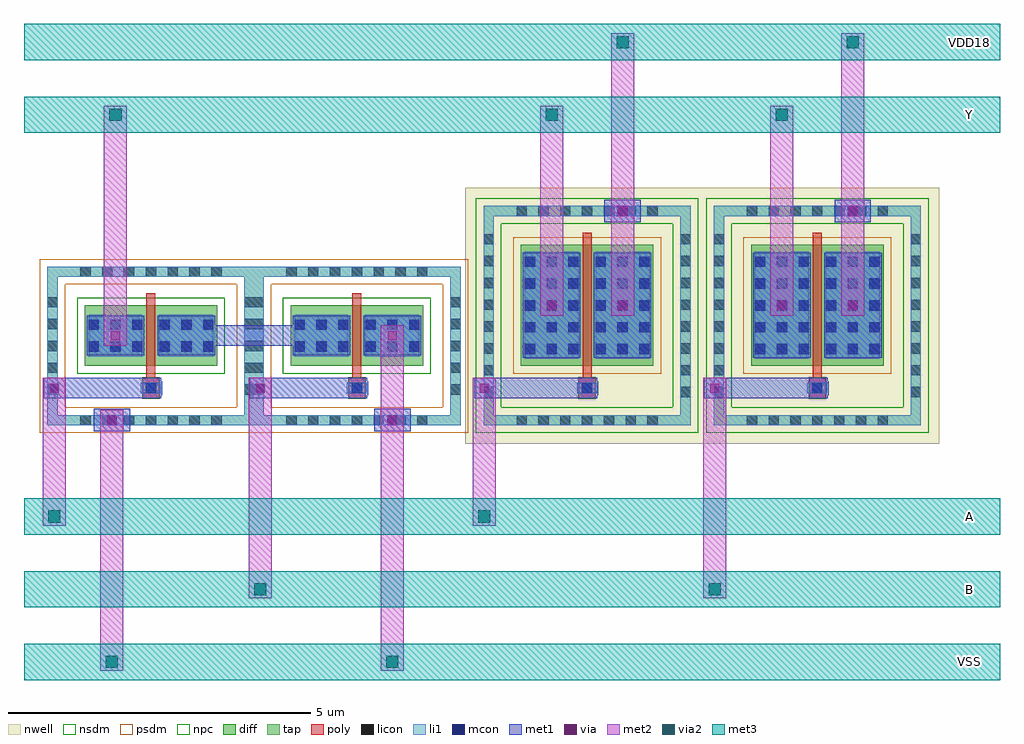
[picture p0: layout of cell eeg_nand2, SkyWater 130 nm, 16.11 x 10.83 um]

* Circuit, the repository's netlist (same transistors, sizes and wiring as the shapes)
* Extracted by KLayout with SKY130 LVS runset on : 05/09/2026 13:17

.SUBCKT eeg_nand2 A B VDD18 VSS Y
M$1 Y B VDD18 VDD18 sky130_fd_pr__pfet_01v8 L=0.15 W=2 AS=2.04 AD=2.04 PS=6.04
+ PD=6.04
M$2 Y A VDD18 VDD18 sky130_fd_pr__pfet_01v8 L=0.15 W=2 AS=2.04 AD=2.04 PS=6.04
+ PD=6.04
M$3 \$9 B VSS VSS sky130_fd_pr__nfet_01v8 L=0.15 W=1 AS=1.02 AD=1.02 PS=4.04
+ PD=4.04
M$4 Y A \$9 VSS sky130_fd_pr__nfet_01v8 L=0.15 W=1 AS=1.02 AD=1.02 PS=4.04
+ PD=4.04
.ENDS eeg_nand2

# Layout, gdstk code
import gdstk
lib = gdstk.Library(unit=1e-6, precision=1e-09)
def R(c, l, rs):  # rectangles x0, y0, x1, y1
    for r in rs: c.add(gdstk.rectangle(r[:2], r[2:], *l))
def A(c, l, x, y, w, h, nx, ny, dx, dy):  # array of equal rectangles
    R(c, l, [(x+i*dx, y+j*dy, x+i*dx+w, y+j*dy+h) for i in range(nx) for j in range(ny)])
def P(c, l, *ps):  # polygons
    for p in ps: c.add(gdstk.Polygon(p, *l))
nwell = (64, 20)
diff = (65, 20)
tap = (65, 44)
poly = (66, 20)
licon = (66, 44)
li1 = (67, 20)
mcon = (67, 44)
met1 = (68, 20)
via = (68, 44)
met2 = (69, 20)
via2 = (69, 44)
met3 = (70, 20)
nsdm = (93, 44)
psdm = (94, 20)
npc = (95, 20)

nd_n1 = lib.new_cell('nd_n1')
R(nd_n1, diff, [(0,0,2.19,1)])
P(nd_n1, tap, [(-0.615,-0.98),(-0.615,1.47),(-0.445,1.47),(-0.445,-0.81),(2.635,-0.81),(2.635,1.47),(-0.615,1.47),(-0.615,1.64),(2.805,1.64),(2.805,-0.98)])
R(nd_n1, poly, [(0.96,-0.53,1.23,-0.2), (1.02,-0.2,1.17,1.2)])
A(nd_n1, licon, -0.07, -0.98, 0.17, 0.17, 7, 2, 0.36, 2.45)
A(nd_n1, licon, -0.615, -0.475, 0.17, 0.17, 1, 5, 0, 0.36)
A(nd_n1, licon, 2.635, -0.475, 0.17, 0.17, 1, 5, 0, 0.36)
A(nd_n1, licon, 0.065, 0.235, 0.17, 0.17, 3, 2, 0.36, 0.36)
A(nd_n1, licon, 1.235, 0.235, 0.17, 0.17, 3, 2, 0.36, 0.36)
R(nd_n1, licon, [(1.01,-0.45,1.18,-0.28)])
R(nd_n1, li1, [(0.93,-0.45,1.26,-0.28), (0.065,0.155,0.955,0.845), (1.235,0.155,2.125,0.845)])
P(nd_n1, li1, [(-0.615,-0.98),(-0.615,1.47),(-0.445,1.47),(-0.445,-0.81),(2.635,-0.81),(2.635,1.47),(-0.615,1.47),(-0.615,1.64),(2.805,1.64),(2.805,-0.98)])
A(nd_n1, mcon, 0.065, 0.235, 0.17, 0.17, 3, 2, 0.36, 0.36)
A(nd_n1, mcon, 1.235, 0.235, 0.17, 0.17, 3, 2, 0.36, 0.36)
R(nd_n1, mcon, [(1.01,-0.45,1.18,-0.28)])
R(nd_n1, met1, [(0.91,-0.48,1.28,-0.25), (0.035,0.175,0.985,0.825), (1.205,0.175,2.155,0.825)])
R(nd_n1, nsdm, [(-0.125,-0.125,2.315,1.125)])
P(nd_n1, psdm, [(-0.74,-1.105),(-0.74,1.345),(-0.32,1.345),(-0.32,-0.685),(2.51,-0.685),(2.51,1.345),(-0.74,1.345),(-0.74,1.765),(2.93,1.765),(2.93,-1.105)])
R(nd_n1, npc, [(0.95,-0.54,1.24,-0.19)])

nd_n2 = lib.new_cell('nd_n2')
R(nd_n2, diff, [(0,0,2.19,1)])
P(nd_n2, tap, [(-0.615,-0.98),(-0.615,1.47),(-0.445,1.47),(-0.445,-0.81),(2.635,-0.81),(2.635,1.47),(-0.615,1.47),(-0.615,1.64),(2.805,1.64),(2.805,-0.98)])
R(nd_n2, poly, [(0.96,-0.53,1.23,-0.2), (1.02,-0.2,1.17,1.2)])
A(nd_n2, licon, -0.07, -0.98, 0.17, 0.17, 7, 2, 0.36, 2.45)
A(nd_n2, licon, -0.615, -0.475, 0.17, 0.17, 1, 5, 0, 0.36)
A(nd_n2, licon, 2.635, -0.475, 0.17, 0.17, 1, 5, 0, 0.36)
A(nd_n2, licon, 0.065, 0.235, 0.17, 0.17, 3, 2, 0.36, 0.36)
A(nd_n2, licon, 1.235, 0.235, 0.17, 0.17, 3, 2, 0.36, 0.36)
R(nd_n2, licon, [(1.01,-0.45,1.18,-0.28)])
R(nd_n2, li1, [(0.93,-0.45,1.26,-0.28), (0.065,0.155,0.955,0.845), (1.235,0.155,2.125,0.845)])
P(nd_n2, li1, [(-0.615,-0.98),(-0.615,1.47),(-0.445,1.47),(-0.445,-0.81),(2.635,-0.81),(2.635,1.47),(-0.615,1.47),(-0.615,1.64),(2.805,1.64),(2.805,-0.98)])
A(nd_n2, mcon, 0.065, 0.235, 0.17, 0.17, 3, 2, 0.36, 0.36)
A(nd_n2, mcon, 1.235, 0.235, 0.17, 0.17, 3, 2, 0.36, 0.36)
R(nd_n2, mcon, [(1.01,-0.45,1.18,-0.28)])
R(nd_n2, met1, [(0.91,-0.48,1.28,-0.25), (0.035,0.175,0.985,0.825), (1.205,0.175,2.155,0.825)])
R(nd_n2, nsdm, [(-0.125,-0.125,2.315,1.125)])
P(nd_n2, psdm, [(-0.74,-1.105),(-0.74,1.345),(-0.32,1.345),(-0.32,-0.685),(2.51,-0.685),(2.51,1.345),(-0.74,1.345),(-0.74,1.765),(2.93,1.765),(2.93,-1.105)])
R(nd_n2, npc, [(0.95,-0.54,1.24,-0.19)])

nd_p1 = lib.new_cell('nd_p1')
R(nd_p1, nwell, [(-0.92,-1.285,3.11,2.945)])
R(nd_p1, diff, [(0,0,2.19,2)])
P(nd_p1, tap, [(-0.615,-0.98),(-0.615,2.47),(-0.445,2.47),(-0.445,-0.81),(2.635,-0.81),(2.635,2.47),(-0.615,2.47),(-0.615,2.64),(2.805,2.64),(2.805,-0.98)])
R(nd_p1, poly, [(0.96,-0.53,1.23,-0.2), (1.02,-0.2,1.17,2.2)])
A(nd_p1, licon, -0.07, -0.98, 0.17, 0.17, 7, 2, 0.36, 3.45)
A(nd_p1, licon, -0.615, -0.515, 0.17, 0.17, 1, 8, 0, 0.36)
A(nd_p1, licon, 2.635, -0.515, 0.17, 0.17, 1, 8, 0, 0.36)
A(nd_p1, licon, 0.065, 0.195, 0.17, 0.17, 3, 5, 0.36, 0.36)
A(nd_p1, licon, 1.235, 0.195, 0.17, 0.17, 3, 5, 0.36, 0.36)
R(nd_p1, licon, [(1.01,-0.45,1.18,-0.28)])
R(nd_p1, li1, [(0.93,-0.45,1.26,-0.28), (0.065,0.115,0.955,1.885), (1.235,0.115,2.125,1.885)])
P(nd_p1, li1, [(-0.615,-0.98),(-0.615,2.47),(-0.445,2.47),(-0.445,-0.81),(2.635,-0.81),(2.635,2.47),(-0.615,2.47),(-0.615,2.64),(2.805,2.64),(2.805,-0.98)])
A(nd_p1, mcon, 0.065, 0.195, 0.17, 0.17, 3, 5, 0.36, 0.36)
A(nd_p1, mcon, 1.235, 0.195, 0.17, 0.17, 3, 5, 0.36, 0.36)
R(nd_p1, mcon, [(1.01,-0.45,1.18,-0.28)])
R(nd_p1, met1, [(0.91,-0.48,1.28,-0.25), (0.035,0.135,0.985,1.865), (1.205,0.135,2.155,1.865)])
P(nd_p1, nsdm, [(-0.74,-1.105),(-0.74,2.345),(-0.32,2.345),(-0.32,-0.685),(2.51,-0.685),(2.51,2.345),(-0.74,2.345),(-0.74,2.765),(2.93,2.765),(2.93,-1.105)])
R(nd_p1, psdm, [(-0.125,-0.125,2.315,2.125)])
R(nd_p1, npc, [(0.95,-0.54,1.24,-0.19)])

nd_p2 = lib.new_cell('nd_p2')
R(nd_p2, nwell, [(-0.92,-1.285,3.11,2.945)])
R(nd_p2, diff, [(0,0,2.19,2)])
P(nd_p2, tap, [(-0.615,-0.98),(-0.615,2.47),(-0.445,2.47),(-0.445,-0.81),(2.635,-0.81),(2.635,2.47),(-0.615,2.47),(-0.615,2.64),(2.805,2.64),(2.805,-0.98)])
R(nd_p2, poly, [(0.96,-0.53,1.23,-0.2), (1.02,-0.2,1.17,2.2)])
A(nd_p2, licon, -0.07, -0.98, 0.17, 0.17, 7, 2, 0.36, 3.45)
A(nd_p2, licon, -0.615, -0.515, 0.17, 0.17, 1, 8, 0, 0.36)
A(nd_p2, licon, 2.635, -0.515, 0.17, 0.17, 1, 8, 0, 0.36)
A(nd_p2, licon, 0.065, 0.195, 0.17, 0.17, 3, 5, 0.36, 0.36)
A(nd_p2, licon, 1.235, 0.195, 0.17, 0.17, 3, 5, 0.36, 0.36)
R(nd_p2, licon, [(1.01,-0.45,1.18,-0.28)])
R(nd_p2, li1, [(0.93,-0.45,1.26,-0.28), (0.065,0.115,0.955,1.885), (1.235,0.115,2.125,1.885)])
P(nd_p2, li1, [(-0.615,-0.98),(-0.615,2.47),(-0.445,2.47),(-0.445,-0.81),(2.635,-0.81),(2.635,2.47),(-0.615,2.47),(-0.615,2.64),(2.805,2.64),(2.805,-0.98)])
A(nd_p2, mcon, 0.065, 0.195, 0.17, 0.17, 3, 5, 0.36, 0.36)
A(nd_p2, mcon, 1.235, 0.195, 0.17, 0.17, 3, 5, 0.36, 0.36)
R(nd_p2, mcon, [(1.01,-0.45,1.18,-0.28)])
R(nd_p2, met1, [(0.91,-0.48,1.28,-0.25), (0.035,0.135,0.985,1.865), (1.205,0.135,2.155,1.865)])
P(nd_p2, nsdm, [(-0.74,-1.105),(-0.74,2.345),(-0.32,2.345),(-0.32,-0.685),(2.51,-0.685),(2.51,2.345),(-0.74,2.345),(-0.74,2.765),(2.93,2.765),(2.93,-1.105)])
R(nd_p2, psdm, [(-0.125,-0.125,2.315,2.125)])
R(nd_p2, npc, [(0.95,-0.54,1.24,-0.19)])

eeg_nand2 = lib.new_cell('eeg_nand2')
R(eeg_nand2, mcon, [(0.365,-0.98,0.535,-0.81), (4.995,-0.98,5.165,-0.81), (8.795,2.47,8.965,2.64), (12.595,2.47,12.765,2.64)])
R(eeg_nand2, met1, [(0.15,-1.08,0.75,-0.71), (4.78,-1.08,5.38,-0.71), (0.28,-1.065,0.62,-0.725), (4.91,-1.065,5.25,-0.725), (-0.67,-0.535,1.265,-0.195), (2.73,-0.535,4.665,-0.195), (6.43,-0.535,8.465,-0.195), (10.23,-0.535,12.265,-0.195), (0.34,0.33,0.68,0.67), (1.51,0.33,4.08,0.67), (4.91,0.33,5.25,0.67), (7.54,0.83,7.88,1.17), (8.71,0.83,9.05,1.17), (11.34,0.83,11.68,1.17), (12.51,0.83,12.85,1.17), (8.58,2.37,9.18,2.74), (12.38,2.37,12.98,2.74), (8.71,2.385,9.05,2.725), (12.51,2.385,12.85,2.725)])
R(eeg_nand2, via, [(0.375,-0.97,0.525,-0.82), (5.005,-0.97,5.155,-0.82), (-0.575,-0.44,-0.425,-0.29), (2.825,-0.44,2.975,-0.29), (6.525,-0.44,6.675,-0.29), (10.325,-0.44,10.475,-0.29), (0.435,0.425,0.585,0.575), (5.005,0.425,5.155,0.575), (7.635,0.925,7.785,1.075), (8.805,0.925,8.955,1.075), (11.435,0.925,11.585,1.075), (12.605,0.925,12.755,1.075), (8.805,2.48,8.955,2.63), (12.605,2.48,12.755,2.63)])
R(eeg_nand2, met2, [(0.26,-5.035,0.64,-0.725), (4.89,-5.035,5.27,0.67), (4.89,-5.035,5.27,-0.725), (2.71,-3.835,3.09,-0.195), (10.21,-3.835,10.59,-0.195), (-0.69,-2.635,-0.31,-0.195), (6.41,-2.635,6.79,-0.195), (0.32,0.33,0.7,4.295), (7.52,0.83,7.9,4.295), (8.69,0.83,9.07,5.495), (11.32,0.83,11.7,4.295), (12.49,0.83,12.87,5.495), (8.69,2.385,9.07,5.495), (12.49,2.385,12.87,5.495)])
R(eeg_nand2, via2, [(0.35,-4.985,0.55,-4.785), (4.98,-4.985,5.18,-4.785), (4.98,-4.985,5.18,-4.785), (2.8,-3.785,3,-3.585), (10.3,-3.785,10.5,-3.585), (-0.6,-2.585,-0.4,-2.385), (6.5,-2.585,6.7,-2.385), (0.41,4.045,0.61,4.245), (7.61,4.045,7.81,4.245), (11.41,4.045,11.61,4.245), (8.78,5.245,8.98,5.445), (8.78,5.245,8.98,5.445), (12.58,5.245,12.78,5.445), (12.58,5.245,12.78,5.445)])
A(eeg_nand2, met3, -1, -5.185, 16.11, 0.6, 1, 3, 0, 1.2)
R(eeg_nand2, met3, [(-1,3.845,15.11,4.445), (-1,5.045,15.11,5.645)])
eeg_nand2.add(gdstk.Reference(nd_n1, (0,0)))
eeg_nand2.add(gdstk.Reference(nd_n2, (3.4,0)))
eeg_nand2.add(gdstk.Reference(nd_p1, (7.2,0)))
eeg_nand2.add(gdstk.Reference(nd_p2, (11,0)))
eeg_nand2.add(gdstk.Label('A', (14.61,-2.485), layer=70, texttype=5))
eeg_nand2.add(gdstk.Label('B', (14.61,-3.685), layer=70, texttype=5))
eeg_nand2.add(gdstk.Label('Y', (14.61,4.145), layer=70, texttype=5))
eeg_nand2.add(gdstk.Label('VDD18', (14.61,5.345), layer=70, texttype=5))
eeg_nand2.add(gdstk.Label('VSS', (14.61,-4.885), layer=70, texttype=5))

lib.write_gds('eeg_nand2.gds')
